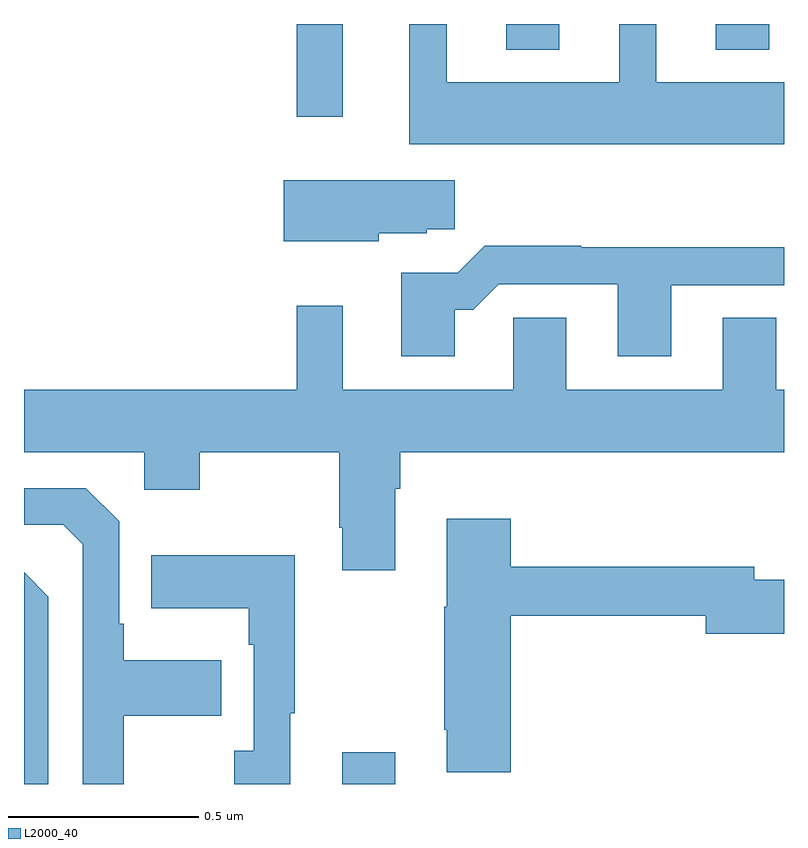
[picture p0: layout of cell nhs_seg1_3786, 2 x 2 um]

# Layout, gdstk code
import gdstk
lib = gdstk.Library(unit=1e-6, precision=1e-09)
def R(c, l, rs):  # rectangles x0, y0, x1, y1
    for r in rs: c.add(gdstk.rectangle(r[:2], r[2:], *l))
def P(c, l, *ps):  # polygons
    for p in ps: c.add(gdstk.Polygon(p, *l))
L2000_40 = (2000, 40)

nhs_seg1_3786 = lib.new_cell('nhs_seg1_3786')
R(nhs_seg1_3786, L2000_40, [(158.837,544.199,158.977,544.282), (158.718,545.955,158.839,546.199), (159.269,546.131,159.409,546.199), (159.821,546.131,159.961,546.199)])
P(nhs_seg1_3786, L2000_40, [(160,546.046),(159.664,546.046),(159.664,546.199),(159.566,546.199),(159.566,546.046),(159.112,546.046),(159.112,546.199),(159.014,546.199),(159.014,545.882),(160,545.882)],
  [(158.934,545.648),(159.06,545.648),(159.06,545.659),(159.133,545.659),(159.133,545.788),(158.684,545.788),(158.684,545.627),(158.934,545.627)],
  [(159.133,545.447),(159.182,545.447),(159.249,545.514),(159.563,545.514),(159.563,545.325),(159.703,545.325),(159.703,545.511),(160,545.511),(160,545.612),(159.467,545.612),(159.467,545.615),(159.212,545.615),(159.141,545.544),(158.993,545.544),(158.993,545.325),(159.133,545.325)],
  [(158.977,544.976),(158.99,544.976),(158.99,545.072),(160,545.072),(160,545.236),(159.979,545.236),(159.979,545.426),(159.839,545.426),(159.839,545.236),(159.427,545.236),(159.427,545.426),(159.288,545.426),(159.288,545.236),(158.839,545.236),(158.839,545.458),(158.718,545.458),(158.718,545.236),(158,545.236),(158,545.072),(158.316,545.072),(158.316,544.973),(158.463,544.973),(158.463,545.072),(158.83,545.072),(158.83,544.873),(158.837,544.873),(158.837,544.761),(158.977,544.761)],
  [(158.263,544.378),(158.519,544.378),(158.519,544.525),(158.263,544.525),(158.263,544.621),(158.25,544.621),(158.25,544.89),(158.163,544.977),(158,544.977),(158,544.881),(158.103,544.881),(158.154,544.83),(158.154,544.199),(158.263,544.199)],
  [(159.281,544.642),(159.794,544.642),(159.794,544.595),(160,544.595),(160,544.737),(159.922,544.737),(159.922,544.771),(159.281,544.771),(159.281,544.897),(159.113,544.897),(159.113,544.665),(159.106,544.665),(159.106,544.342),(159.113,544.342),(159.113,544.23),(159.281,544.23)],
  [(158.701,544.385),(158.713,544.385),(158.713,544.801),(158.335,544.801),(158.335,544.661),(158.592,544.661),(158.592,544.565),(158.604,544.565),(158.604,544.286),(158.553,544.286),(158.553,544.199),(158.701,544.199)],
  [(158.064,544.692),(158,544.756),(158,544.199),(158.064,544.199)])

lib.write_gds('nhs_seg1_3786.gds')
